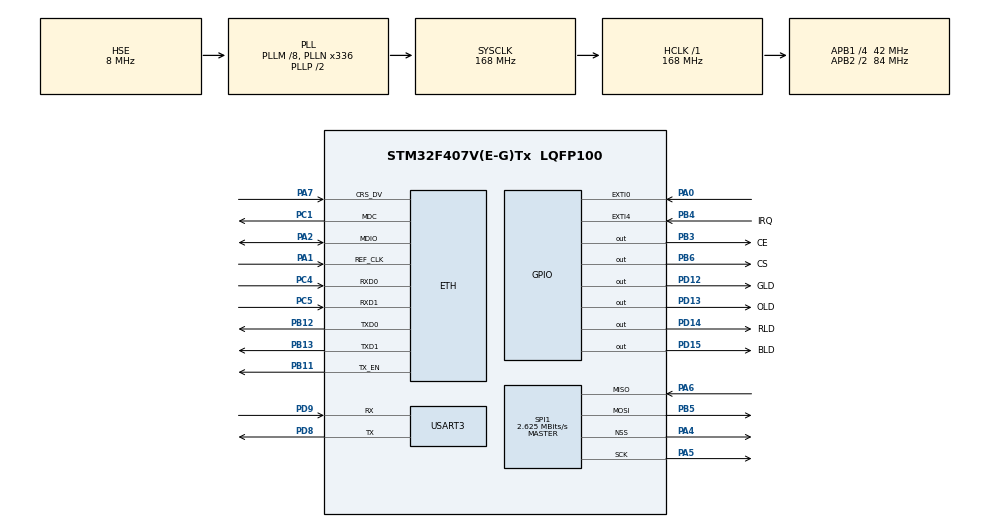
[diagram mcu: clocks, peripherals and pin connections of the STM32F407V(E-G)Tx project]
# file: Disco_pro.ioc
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Mcu.Family=STM32F4
PD12.GPIO_Label=GLD
PA6.Mode=Full_Duplex_Master
PH0-OSC_IN.Signal=RCC_OSC_IN
RCC.CortexFreq_Value=168000000
VP_MBEDTLS_VS_MBEDTLS.Mode=Enabled
SPI1.VirtualType=VM_MASTER
VP_RTC_VS_RTC_Activate.Mode=RTC_Enabled
PB6.GPIO_Label=CS
PC5.Mode=RMII
PB11.Signal=ETH_TX_EN
PB13.Signal=ETH_TXD1
PD9.Mode=Asynchronous
RCC.SYSCLKSource=RCC_SYSCLKSOURCE_PLLCLK
ProjectManager.StackSize=0x400
PD13.Signal=GPIO_Output
PA4.Mode=NSS_Signal_Hard_Output
SPI1.Direction=SPI_DIRECTION_2LINES
RCC.HCLKFreq_Value=168000000
RCC.APB2TimFreq_Value=168000000
TIM3.Period=0xFFFF-1
PB6.Signal=GPIO_Output
SPI1.CalculateBaudRate=2.625 MBits/s
PD8.Signal=USART3_TX
RCC.AHBFreq_Value=168000000
PH0-OSC_IN.Mode=HSE-External-Oscillator
NVIC.ETH_IRQn=true\:5\:0\:false\:false\:true\:true\:false\:true
RCC.HSE_VALUE=8000000
PC14-OSC32_IN.Mode=LSE-External-Oscillator
TIM3.Prescaler=83
PB5.Mode=Full_Duplex_Master
NVIC.TIM2_IRQn=true\:0\:0\:false\:false\:true\:false\:false\:true
SPI1.VirtualNSS=VM_NSSHARD
TIM4.Period=0xFFFF-1
VP_FREERTOS_VS_CMSIS_V1.Mode=CMSIS_V1
PH1-OSC_OUT.Mode=HSE-External-Oscillator
PD13.GPIO_Label=OLD
VP_SYS_VS_tim2.Mode=TIM2
Mcu.Package=LQFP100
PA6.Signal=SPI1_MISO
PB12.Mode=RMII
NVIC.TimeBase=TIM2_IRQn
PD12.Signal=GPIO_Output
NVIC.TimeBaseIP=TIM2
VP_RTC_VS_RTC_Calendar.Mode=RTC_Calendar
RCC.APB2CLKDivider=RCC_HCLK_DIV2
RCC.APB1TimFreq_Value=84000000
PC5.Signal=ETH_RXD1
PB13.Mode=RMII
SPI1.BaudRatePrescaler=SPI_BAUDRATEPRESCALER_32
PD15.Signal=GPIO_Output
VP_TIM3_VS_ClockSourceINT.Mode=Internal
PC4.Mode=RMII
PB4.Signal=GPXTI4
PA5.Mode=Full_Duplex_Master
PB3.GPIO_Label=CE
RCC.PLLSourceVirtual=RCC_PLLSOURCE_HSE
PC15-OSC32_OUT.Mode=LSE-External-Oscillator
NVIC.EXTI4_IRQn=true\:0\:0\:false\:false\:true\:false\:true\:true
FREERTOS.Tasks01=MqttTask,0,128,MqttTaskFunction,Default,NULL,Dynamic,NULL,NULL;RF,-3,128,RF_function,Default,NULL,Dynamic,NULL,NULL
PD15.GPIO_Label=BLD
PA7.Mode=RMII
PC4.Signal=ETH_RXD0
ETH.MACAddr=DE\:80\:E1\:0A\:BF\:ED
PD9.Signal=USART3_RX
LWIP.LWIP_DHCP=0
VP_RNG_VS_RNG.Mode=RNG_Activate
RCC.APB1CLKDivider=RCC_HCLK_DIV4
PC14-OSC32_IN.Signal=RCC_OSC32_IN
PA0-WKUP.Signal=GPXTI0
VP_LWIP_VS_Enabled.Mode=Enabled
LWIP.LWIP_DNS=1
PB11.Mode=RMII
ProjectManager.TargetToolchain=TrueSTUDIO
TIM4.Prescaler=83
PC15-OSC32_OUT.Signal=RCC_OSC32_OUT
PD8.Mode=Asynchronous
PA1.Signal=ETH_REF_CLK
PA5.Signal=SPI1_SCK
board=STM32F407G-DISC1
RCC.VCOOutputFreq_Value=336000000
NVIC.TIM3_IRQn=true\:5\:0\:false\:false\:true\:true\:true\:true
RCC.APB2Freq_Value=84000000
PA1.Mode=RMII
PB4.GPIO_Label=IRQ
SPI1.Mode=SPI_MODE_MASTER
PH1-OSC_OUT.Signal=RCC_OSC_OUT
PD14.GPIO_Label=RLD
Mcu.Name=STM32F407V(E-G)Tx
PA2.Signal=ETH_MDIO
PD14.Signal=GPIO_Output
RCC.48MHZClocksFreq_Value=48000000
PB3.Signal=GPIO_Output
NVIC.EXTI0_IRQn=true\:5\:0\:false\:false\:true\:true\:true\:true
PA4.Signal=SPI1_NSS
RCC.SYSCLKFreq_VALUE=168000000
PB5.Signal=SPI1_MOSI
ETH.MediaInterface=ETH_MEDIA_INTERFACE_RMII
USART3.VirtualMode=VM_ASYNC
RTC.HourFormat=RTC_HOURFORMAT_12
ProjectManager.HeapSize=0x200
LWIP.Version=v2.1.2_Cube
RCC.HSI_VALUE=16000000
VP_TIM4_VS_ClockSourceINT.Mode=Internal
RCC.PLLQ=7
NVIC.PriorityGroup=NVIC_PRIORITYGROUP_4
RCC.PLLM=8
RCC.PLLN=336
PA2.Mode=RMII
NVIC.TIM4_IRQn=true\:5\:0\:false\:false\:true\:true\:true\:true
RCC.APB1Freq_Value=42000000
PC1.Signal=ETH_MDC
PB12.Signal=ETH_TXD0
PC1.Mode=RMII
PA7.Signal=ETH_CRS_DV

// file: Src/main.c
/* USER CODE BEGIN Header */
/**
  ******************************************************************************
  * @file           : main.c
  * @brief          : Main program body
  ******************************************************************************
  * @attention
  *
  * <h2><center>&copy; Copyright (c) 2020 STMicroelectronics.
  * All rights reserved.</center></h2>
  *
  * This software component is licensed by ST under Ultimate Liberty license
  * SLA0044, the "License"; You may not use this file except in compliance with
  * the License. You may obtain a copy of the License at:
  *                             www.st.com/SLA0044
  *
  ******************************************************************************
  */
/* USER CODE END Header */

#include "main.h"
#include "cmsis_os.h"

/* USER CODE BEGIN Includes */
#include "nrf24l01.h"
#include  "stdio.h"
/* USER CODE END Includes */

/* USER CODE BEGIN PTD */
net_hnd_t         hnet; /* Is initialized by cloud_main(). */

/* USER CODE END PTD */

/* USER CODE BEGIN PM */
static const uint8_t rx_address[5] = {1, 2, 3, 4, 5};
static const uint8_t tx_address[5] = {1, 2, 3, 4, 6};
/* USER CODE END PM */

RNG_HandleTypeDef hrng;

RTC_HandleTypeDef hrtc;

SPI_HandleTypeDef hspi1;

TIM_HandleTypeDef htim3;
TIM_HandleTypeDef htim4;

UART_HandleTypeDef huart3;

osThreadId MqttTaskHandle;
osThreadId RFHandle;
/* USER CODE BEGIN PV */
static volatile uint8_t button_flags = 0;

/* USER CODE END PV */

void SystemClock_Config(void);
static void MX_GPIO_Init(void);
static void MX_RNG_Init(void);
static void MX_TIM3_Init(void);
static void MX_TIM4_Init(void);
static void MX_RTC_Init(void);
static void MX_SPI1_Init(void);
static void MX_USART3_UART_Init(void);
void MqttTaskFunction(void const * argument);
void RF_function(void const * argument);

/* USER CODE BEGIN PFP */
static void Button_ISR(void);
static void cloud_test(void const *arg)
;
static void send_rf_msg(uint8_t *buffer);
nrf24l01 nrf;
uint32_t rx_data;

/* USER CODE END PFP */

/* USER CODE BEGIN 0 */

#if (defined(__GNUC__) && !defined(__CC_ARM))
/* With GCC/RAISONANCE, small printf (option LD Linker->Libraries->Small printf
   set to 'Yes') calls __io_putchar() */
#define PUTCHAR_PROTOTYPE int __io_putchar(int ch)
#define GETCHAR_PROTOTYPE int __io_getchar(void)
#else
#define PUTCHAR_PROTOTYPE int fputc(int ch, FILE *f)
#define GETCHAR_PROTOTYPE int fgetc(FILE *f)
#endif /* __GNUC__ */

/**
  * @brief  Retargets the C library printf function to the USART.
  * @param  None
  * @retval None
  */
PUTCHAR_PROTOTYPE
{
  /* Place your implementation of fputc here */
  /* e.g. write a character to the USART2 and Loop until the end of transmission */
  while (HAL_OK != HAL_UART_Transmit(&huart3, (uint8_t *) &ch, 1, 30000))
  {
    ;
  }
  return ch;
}

/**
  * @brief  Retargets the C library scanf function to the USART.
  * @param  None
  * @retval None
  */
GETCHAR_PROTOTYPE
{
  /* Place your implementation of fgetc here */
  /* e.g. read a character on USART and loop until the end of read */
  uint8_t ch = 0;
  while (HAL_OK != HAL_UART_Receive(&huart3, (uint8_t *)&ch, 1, 30000))
  {
    ;
  }
  return ch;
}
/* USER CODE END 0 */

int main(void)
{

  /* MCU Configuration--------------------------------------------------------*/

  /* Reset of all peripherals, Initializes the Flash interface and the Systick. */
  HAL_Init();

  /* Configure the system clock */
  SystemClock_Config();

  /* Initialize all configured peripherals */
  MX_GPIO_Init();
  MX_RNG_Init();
  MX_TIM3_Init();
  MX_TIM4_Init();
  /* Up to user define the empty MX_MBEDTLS_Init() function located in mbedtls.c file */
  MX_RTC_Init();
  MX_SPI1_Init();
  MX_USART3_UART_Init();
  /* USER CODE BEGIN 2 */
  printf("hhh\n");
  /* USER CODE END 2 */

  /* Create the thread(s) */
  /* definition and creation of MqttTask */

  osThreadDef(MqttTask, MqttTaskFunction, osPriorityNormal, 0, configMINIMAL_STACK_SIZE + 1000);
  MqttTaskHandle = osThreadCreate(osThread(MqttTask), NULL);

  /* definition and creation of RF */
  //osThreadDef(RF, RF_function, osPriorityIdle, 0, 128);
 // RFHandle = osThreadCreate(osThread(RF), NULL);

  /* Start scheduler */
  osKernelStart();

  /* We should never get here as control is now taken by the scheduler */
  /* Infinite loop */
  while (1)
  {

  }
}

void SystemClock_Config(void)
{
  RCC_OscInitTypeDef RCC_OscInitStruct = {0};
  RCC_ClkInitTypeDef RCC_ClkInitStruct = {0};
  RCC_PeriphCLKInitTypeDef PeriphClkInitStruct = {0};

  /** Configure the main internal regulator output voltage
  */
  __HAL_RCC_PWR_CLK_ENABLE();
  __HAL_PWR_VOLTAGESCALING_CONFIG(PWR_REGULATOR_VOLTAGE_SCALE1);
  /** Initializes the CPU, AHB and APB busses clocks
  */
  RCC_OscInitStruct.OscillatorType = RCC_OSCILLATORTYPE_LSI|RCC_OSCILLATORTYPE_HSE;
  RCC_OscInitStruct.HSEState = RCC_HSE_ON;
  RCC_OscInitStruct.LSIState = RCC_LSI_ON;
  RCC_OscInitStruct.PLL.PLLState = RCC_PLL_ON;
  RCC_OscInitStruct.PLL.PLLSource = RCC_PLLSOURCE_HSE;
  RCC_OscInitStruct.PLL.PLLM = 8;
  RCC_OscInitStruct.PLL.PLLN = 336;
  RCC_OscInitStruct.PLL.PLLP = RCC_PLLP_DIV2;
  RCC_OscInitStruct.PLL.PLLQ = 7;
  if (HAL_RCC_OscConfig(&RCC_OscInitStruct) != HAL_OK)
  {
    Error_Handler();
  }
  /** Initializes the CPU, AHB and APB busses clocks
  */
  RCC_ClkInitStruct.ClockType = RCC_CLOCKTYPE_HCLK|RCC_CLOCKTYPE_SYSCLK
                              |RCC_CLOCKTYPE_PCLK1|RCC_CLOCKTYPE_PCLK2;
  RCC_ClkInitStruct.SYSCLKSource = RCC_SYSCLKSOURCE_PLLCLK;
  RCC_ClkInitStruct.AHBCLKDivider = RCC_SYSCLK_DIV1;
  RCC_ClkInitStruct.APB1CLKDivider = RCC_HCLK_DIV4;
  RCC_ClkInitStruct.APB2CLKDivider = RCC_HCLK_DIV2;

  if (HAL_RCC_ClockConfig(&RCC_ClkInitStruct, FLASH_LATENCY_5) != HAL_OK)
  {
    Error_Handler();
  }
  PeriphClkInitStruct.PeriphClockSelection = RCC_PERIPHCLK_RTC;
  PeriphClkInitStruct.RTCClockSelection = RCC_RTCCLKSOURCE_LSI;
  if (HAL_RCCEx_PeriphCLKConfig(&PeriphClkInitStruct) != HAL_OK)
  {
    Error_Handler();
  }
}

static void MX_RNG_Init(void)
{

  hrng.Instance = RNG;
  if (HAL_RNG_Init(&hrng) != HAL_OK)
  {
    Error_Handler();
  }

}

static void MX_RTC_Init(void)
{

  RTC_TimeTypeDef sTime = {0};
  RTC_DateTypeDef sDate = {0};

  /** Initialize RTC Only
  */
  hrtc.Instance = RTC;
  hrtc.Init.HourFormat = RTC_HOURFORMAT_12;
  hrtc.Init.AsynchPrediv = 127;
  hrtc.Init.SynchPrediv = 255;
  hrtc.Init.OutPut = RTC_OUTPUT_DISABLE;
  hrtc.Init.OutPutPolarity = RTC_OUTPUT_POLARITY_HIGH;
  hrtc.Init.OutPutType = RTC_OUTPUT_TYPE_OPENDRAIN;
  if (HAL_RTC_Init(&hrtc) != HAL_OK)
  {
    Error_Handler();
  }

  /** Initialize RTC and set the Time and Date
  */
  sTime.Hours = 0x1;
  sTime.Minutes = 0x0;
  sTime.Seconds = 0x0;
  sTime.TimeFormat = RTC_HOURFORMAT12_AM;
  sTime.DayLightSaving = RTC_DAYLIGHTSAVING_NONE;
  sTime.StoreOperation = RTC_STOREOPERATION_RESET;
  if (HAL_RTC_SetTime(&hrtc, &sTime, RTC_FORMAT_BCD) != HAL_OK)
  {
    Error_Handler();
  }
  sDate.WeekDay = RTC_WEEKDAY_MONDAY;
  sDate.Month = RTC_MONTH_JANUARY;
  sDate.Date = 0x1;
  sDate.Year = 0x0;

  if (HAL_RTC_SetDate(&hrtc, &sDate, RTC_FORMAT_BCD) != HAL_OK)
  {
    Error_Handler();
  }

}

static void MX_SPI1_Init(void)
{

  /* SPI1 parameter configuration*/
  hspi1.Instance = SPI1;
  hspi1.Init.Mode = SPI_MODE_MASTER;
  hspi1.Init.Direction = SPI_DIRECTION_2LINES;
  hspi1.Init.DataSize = SPI_DATASIZE_8BIT;
  hspi1.Init.CLKPolarity = SPI_POLARITY_LOW;
  hspi1.Init.CLKPhase = SPI_PHASE_1EDGE;
  hspi1.Init.NSS = SPI_NSS_HARD_OUTPUT;
  hspi1.Init.BaudRatePrescaler = SPI_BAUDRATEPRESCALER_32;
  hspi1.Init.FirstBit = SPI_FIRSTBIT_MSB;
  hspi1.Init.TIMode = SPI_TIMODE_DISABLE;
  hspi1.Init.CRCCalculation = SPI_CRCCALCULATION_DISABLE;
  hspi1.Init.CRCPolynomial = 10;
  if (HAL_SPI_Init(&hspi1) != HAL_OK)
  {
    Error_Handler();
  }

}

static void MX_TIM3_Init(void)
{

  TIM_ClockConfigTypeDef sClockSourceConfig = {0};
  TIM_MasterConfigTypeDef sMasterConfig = {0};

  htim3.Instance = TIM3;
  htim3.Init.Prescaler = 83;
  htim3.Init.CounterMode = TIM_COUNTERMODE_UP;
  htim3.Init.Period = 0xFFFF-1;
  htim3.Init.ClockDivision = TIM_CLOCKDIVISION_DIV1;
  htim3.Init.AutoReloadPreload = TIM_AUTORELOAD_PRELOAD_DISABLE;
  if (HAL_TIM_Base_Init(&htim3) != HAL_OK)
  {
    Error_Handler();
  }
  sClockSourceConfig.ClockSource = TIM_CLOCKSOURCE_INTERNAL;
  if (HAL_TIM_ConfigClockSource(&htim3, &sClockSourceConfig) != HAL_OK)
  {
    Error_Handler();
  }
  sMasterConfig.MasterOutputTrigger = TIM_TRGO_RESET;
  sMasterConfig.MasterSlaveMode = TIM_MASTERSLAVEMODE_DISABLE;
  if (HAL_TIMEx_MasterConfigSynchronization(&htim3, &sMasterConfig) != HAL_OK)
  {
    Error_Handler();
  }

}

static void MX_TIM4_Init(void)
{

  TIM_ClockConfigTypeDef sClockSourceConfig = {0};
  TIM_MasterConfigTypeDef sMasterConfig = {0};

  htim4.Instance = TIM4;
  htim4.Init.Prescaler = 83;
  htim4.Init.CounterMode = TIM_COUNTERMODE_UP;
  htim4.Init.Period = 0xFFFF-1;
  htim4.Init.ClockDivision = TIM_CLOCKDIVISION_DIV1;
  htim4.Init.AutoReloadPreload = TIM_AUTORELOAD_PRELOAD_DISABLE;
  if (HAL_TIM_Base_Init(&htim4) != HAL_OK)
  {
    Error_Handler();
  }
  sClockSourceConfig.ClockSource = TIM_CLOCKSOURCE_INTERNAL;
  if (HAL_TIM_ConfigClockSource(&htim4, &sClockSourceConfig) != HAL_OK)
  {
    Error_Handler();
  }
  sMasterConfig.MasterOutputTrigger = TIM_TRGO_RESET;
  sMasterConfig.MasterSlaveMode = TIM_MASTERSLAVEMODE_DISABLE;
  if (HAL_TIMEx_MasterConfigSynchronization(&htim4, &sMasterConfig) != HAL_OK)
  {
    Error_Handler();
  }

}

static void MX_USART3_UART_Init(void)
{

  huart3.Instance = USART3;
  huart3.Init.BaudRate = 115200;
  huart3.Init.WordLength = UART_WORDLENGTH_8B;
  huart3.Init.StopBits = UART_STOPBITS_1;
  huart3.Init.Parity = UART_PARITY_NONE;
  huart3.Init.Mode = UART_MODE_TX_RX;
  huart3.Init.HwFlowCtl = UART_HWCONTROL_NONE;
  huart3.Init.OverSampling = UART_OVERSAMPLING_16;
  if (HAL_UART_Init(&huart3) != HAL_OK)
  {
    Error_Handler();
  }

}

static void MX_GPIO_Init(void)
{
  GPIO_InitTypeDef GPIO_InitStruct = {0};

  /* GPIO Ports Clock Enable */
  __HAL_RCC_GPIOC_CLK_ENABLE();
  __HAL_RCC_GPIOH_CLK_ENABLE();
  __HAL_RCC_GPIOA_CLK_ENABLE();
  __HAL_RCC_GPIOB_CLK_ENABLE();
  __HAL_RCC_GPIOD_CLK_ENABLE();

  /*Configure GPIO pin Output Level */
  HAL_GPIO_WritePin(GPIOD, GLD_Pin|OLD_Pin|RLD_Pin|BLD_Pin, GPIO_PIN_RESET);

  /*Configure GPIO pin Output Level */
  HAL_GPIO_WritePin(GPIOB, CE_Pin|CS_Pin, GPIO_PIN_RESET);

  /*Configure GPIO pin : PA0 */
  GPIO_InitStruct.Pin = GPIO_PIN_0;
  GPIO_InitStruct.Mode = GPIO_MODE_IT_RISING;
  GPIO_InitStruct.Pull = GPIO_NOPULL;
  HAL_GPIO_Init(GPIOA, &GPIO_InitStruct);

  /*Configure GPIO pins : GLD_Pin OLD_Pin RLD_Pin BLD_Pin */
  GPIO_InitStruct.Pin = GLD_Pin|OLD_Pin|RLD_Pin|BLD_Pin;
  GPIO_InitStruct.Mode = GPIO_MODE_OUTPUT_PP;
  GPIO_InitStruct.Pull = GPIO_NOPULL;
  GPIO_InitStruct.Speed = GPIO_SPEED_FREQ_LOW;
  HAL_GPIO_Init(GPIOD, &GPIO_InitStruct);

  /*Configure GPIO pins : CE_Pin CS_Pin */
  GPIO_InitStruct.Pin = CE_Pin|CS_Pin;
  GPIO_InitStruct.Mode = GPIO_MODE_OUTPUT_PP;
  GPIO_InitStruct.Pull = GPIO_NOPULL;
  GPIO_InitStruct.Speed = GPIO_SPEED_FREQ_LOW;
  HAL_GPIO_Init(GPIOB, &GPIO_InitStruct);

  /*Configure GPIO pin : IRQ_Pin */
  GPIO_InitStruct.Pin = IRQ_Pin;
  GPIO_InitStruct.Mode = GPIO_MODE_IT_RISING;
  GPIO_InitStruct.Pull = GPIO_NOPULL;
  HAL_GPIO_Init(IRQ_GPIO_Port, &GPIO_InitStruct);

  /* EXTI interrupt init*/
  HAL_NVIC_SetPriority(EXTI0_IRQn, 5, 0);
  HAL_NVIC_EnableIRQ(EXTI0_IRQn);

  HAL_NVIC_SetPriority(EXTI4_IRQn, 0, 0);
  HAL_NVIC_EnableIRQ(EXTI4_IRQn);

}

/* USER CODE BEGIN 4 */
void Led_Blink(int period, int duty, int count)
{
  if ( (duty > 0) && (period >= duty) )
  {
    /*  Shape:   ____
                  on |_off__ */
    do
    {
      Led_SetState(true);
      HAL_Delay(duty);
      Led_SetState(false);
      HAL_Delay(period - duty);
    } while (count--);
  }
  if ( (duty < 0) && (period >= -duty) )
  {
    /*  Shape:         ____
                __off_| on   */
    do
    {
      Led_SetState(false);
      HAL_Delay(period + duty);
      Led_SetState(true);
      HAL_Delay(-duty);
    } while (count--);
  }
}
void Led_SetState(bool on)
{
  if (on == true)
  {
    HAL_GPIO_WritePin(GLD_GPIO_Port,GLD_Pin,GPIO_PIN_SET);
  }
  else
  {
	 HAL_GPIO_WritePin(GLD_GPIO_Port,GLD_Pin,GPIO_PIN_RESET);
  }
}

uint8_t Button_WaitForPush(uint32_t delay)
{
  uint32_t time_out = HAL_GetTick()+delay;
  do
  {
    if (button_flags > 1)
    {
      button_flags = 0;
      return BP_MULTIPLE_PUSH;
    }

    if (button_flags == 1)
    {
      button_flags = 0;
      return BP_SINGLE_PUSH;
    }
  }
  while( HAL_GetTick() < time_out);
  return BP_NOT_PUSHED;
}
uint8_t Button_WaitForMultiPush(uint32_t delay)
{
  HAL_Delay(delay);
  if (button_flags > 1)
  {
    button_flags = 0;
    return BP_MULTIPLE_PUSH;
  }

  if (button_flags == 1)
  {
    button_flags = 0;
    return BP_SINGLE_PUSH;
  }
  return BP_NOT_PUSHED;
}

static void Button_ISR(void)
{
  button_flags++;
}

void HAL_GPIO_EXTI_Callback(uint16_t GPIO_Pin)
{
  switch (GPIO_Pin)
  {
    case (GPIO_PIN_0):
    {
      Button_ISR();
      break;
    }
  case (IRQ_Pin):{
	 //   sprintf(buffer,"IRQ triggired \n\r");
	  //  HAL_UART_Transmit(&huart3,buffer,strlen(buffer),1000);
		HAL_GPIO_TogglePin(OLD_GPIO_Port,OLD_Pin);
	    nrf_irq_handler(&nrf);
	      break;
	}
    default:
    {
      break;
    }
  }
}
/* USER CODE END 4 */

void MqttTaskFunction(void const * argument)
{
  /* USER CODE BEGIN 5 */
	  /* Beware that the OS stack frames are allocated from the OS heap. May incur RAM overwrite in case of overflow. */

	osThreadDef(CLOUDNAME, &cloud_test, osPriorityNormal, 0, configMINIMAL_STACK_SIZE + 0x1000);
	  osThreadCreate (osThread(CLOUDNAME), NULL);

  /* Infinite loop */
  for(;;)
  {
	    osThreadTerminate(NULL);
  }
  /* USER CODE END 5 */
}
static void cloud_test(void const *arg)
{
 HAL_UART_Transmit(&huart3,"\n*** Board personalization ***\n\n",35,1000);

platform_init();
  while(1){
  subscribe_publish_sensor_values();
  HAL_Delay(400);
  }
}
void RF_function(void const * argument)
{
  /* USER CODE BEGIN RF_function */
	  {
	      nrf24l01_config config;
	      config.data_rate        = NRF_DATA_RATE_1MBPS;
	      config.tx_power         = NRF_TX_PWR_0dBm;
	      config.crc_width        = NRF_CRC_WIDTH_1B;
	      config.addr_width       = NRF_ADDR_WIDTH_5;
	      config.payload_length   = 4;    // maximum is 32 bytes
	      config.retransmit_count = 2;   // maximum is 15 times
	      config.retransmit_delay = 0x0F; // 4000us, LSB:250us
	      config.rf_channel       = 11;
	      config.rx_address       = tx_address;
	      config.tx_address       = rx_address;
	      config.rx_buffer        = (uint8_t*)&rx_data;

	      config.spi         = &hspi1;
	      config.spi_timeout = 10; // milliseconds
	      config.ce_port     = CE_GPIO_Port;
	      config.ce_pin      = CE_Pin;
	      config.csn_pin     = CS_Pin;
	      config.csn_port    = CS_GPIO_Port;
	      config.irq_port    = IRQ_GPIO_Port;
	      config.irq_pin     = IRQ_Pin;

	      nrf_init(&nrf, &config);
	  }
	  uint8_t ffer[1000];
	  memset(ffer, 0, sizeof(ffer));
	  sprintf(ffer,"hello world Mohamed from discovery board stm32f4 !\n\r");
	  send_rf_msg(ffer);
  /* Infinite loop */
  for(;;)
  {
	  send_rf_msg(ffer);
      osDelay(400);

  }
  /* USER CODE END RF_function */
}
static void send_rf_msg(uint8_t *buffer){
	uint8_t buffer_send[4];
	 uint16_t u=0;
	  uint16_t i=0;
	  i=sizeof(buffer);
	 while (i){
		  int t=4,g=0;
		  while (t){
			  t--;
			  if(buffer[u]!= 0){
				  buffer_send[g]=buffer[u];
			  g++;
			  u++;
			  }
			  else{
				  i=0;
			        break;

			  }
		  }
		  nrf_send_packet_noack(&nrf, buffer_send);
	 }

}
 /**
  * @brief  Period elapsed callback in non blocking mode
  * @note   This function is called  when TIM2 interrupt took place, inside
  * HAL_TIM_IRQHandler(). It makes a direct call to HAL_IncTick() to increment
  * a global variable "uwTick" used as application time base.
  * @param  htim : TIM handle
  * @retval None
  */
void HAL_TIM_PeriodElapsedCallback(TIM_HandleTypeDef *htim)
{
  if (htim->Instance == TIM2) {
    HAL_IncTick();
  }
}

void Error_Handler(void)
{
}

/************************ (C) COPYRIGHT STMicroelectronics *****END OF FILE****/
